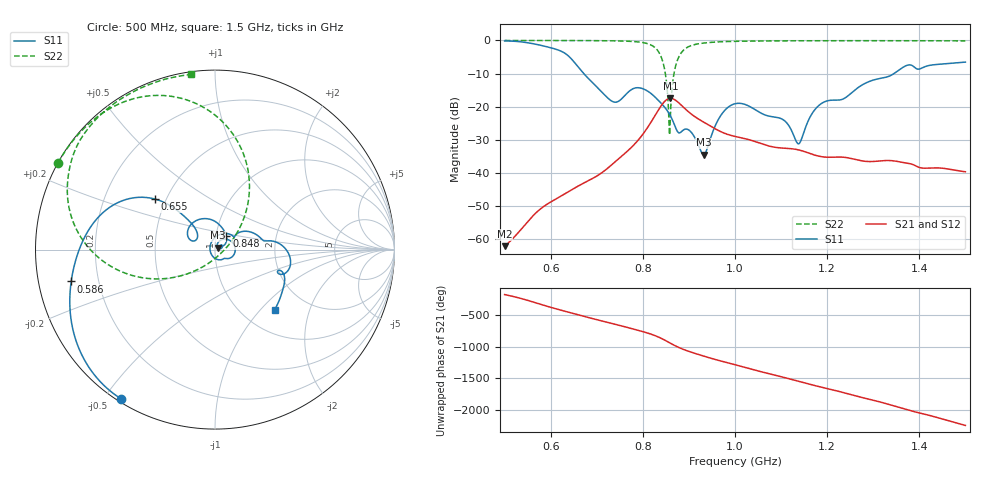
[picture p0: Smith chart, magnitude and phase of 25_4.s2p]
! TOUCHSTONE file generated by CST MICROWAVE STUDIO
! Date and time: Wed Oct 28 19:18:07 2020
! Project name: Scenario_1_Circular_Tissue_out_of_Line.cst
! Parameters = {dy1=70.184; L_HA=400; MT=2.54; Rad_Dielectric=30; Rad_Lower=7.3; Rad_Upper=30; a_HA=580; a_WG=246; b_HA=500; b_WG=121; c_HA=0; c_WG=187; d_feed=85; dx1=693; h_feed=15; h_lower=18; h_upper=40}
! Header version: 2018
! Port assignment regex: !\s*Touchstone port\s*([0-9]+)\s*=\s*(CST MWS port|CST DS port)\s*([0-9]+|Zmin|Zmax)\s*\(\"(.*)\"\)(\s*mode\s*([0-9]+))?.*
! Touchstone port assignment:
! Touchstone port 1 = CST MWS port 1 ("")
! Touchstone port 2 = CST MWS port 2 ("")
# GHz S DB R 50
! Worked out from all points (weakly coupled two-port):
!   1001 points, 500 MHz to 1.5 GHz, reference 50 ohm
!   highest |S21| = -17.44 dB at 860 MHz (marker M1); lowest = -62.0 dB at 500 MHz (marker M2)
!   lowest |S11| = -34.4 dB at 932 MHz (marker M3), VSWR 1.04, Z = 51.6 + j1.14 ohm
!   |S11| at or under -10 dB: 671.8 MHz to 1.345 GHz (673 MHz wide, 66.7 % of centre)
!   |S22| runs from -28.5 to 0.0 dB; largest |S21 - S12| = 1.2e-05
!   S11 on the Smith chart (normalised r, x): 500 MHz: 0.01, -0.55; 586 MHz: 0.10, -0.11; 655 MHz: 0.44, +0.30; 848 MHz: 1.12, +0.17; 1.5 GHz: 1.39, -1.20
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0.5  -0.15 -122.3  -62.02 -167.5  -62.02 -167.5  -0.01 151.1
0.586  -1.72 -167.5  -49.94 19.6  -49.94 19.6  -0.02 145.2
0.655  -7.21 139.8  -44.25 -120.8  -44.25 -120.8  -0.04 139.5
0.667  -9.24 135.4  -43.34 -144.6  -43.34 -144.6  -0.04 138.4
0.736  -18.51 145.7  -37.06 88.5  -37.06 88.5  -0.12 129.9
0.779  -14.54 143.0  -31.70 5.4  -31.70 5.4  -0.32 120.6
0.815  -15.71 94.2  -25.24 -70.3  -25.24 -70.3  -1.21 103.5
0.834  -18.12 69.6  -20.92 -123.3  -20.92 -123.3  -3.40 83.3
0.848  -20.25 49.4  -18.28 -173.7  -18.28 -173.7  -9.32 56.7
0.855  -21.58 39.3  -17.59 158.2  -17.59 158.2  -19.07 28.9
0.86  -22.77 32.6  -17.44 137.8  -17.44 137.8  -21.89 -113.7
0.868  -25.23 25.5  -17.77 106.4  -17.77 106.4  -9.66 -150.5
0.879  -27.88 34.5  -18.94 67.8  -18.94 67.8  -4.71 -170.4
0.902  -27.25 20.3  -21.85 3.5  -21.85 3.5  -1.71 167.1
0.932  -34.42 35.5  -24.63 -66.0  -24.63 -66.0  -0.79 153.7
0.968  -22.86 52.5  -27.43 -141.5  -27.43 -141.5  -0.41 145.3
1  -19.08 9.9  -28.93 157.3  -28.93 157.3  -0.27 140.3
1.104  -23.86 -62.8  -32.47 -40.7  -32.47 -40.7  -0.12 129.4
1.137  -31.15 -167.3  -32.97 -105.7  -32.97 -105.7  -0.11 126.6
1.167  -22.10 80.2  -34.29 -163.7  -34.29 -163.7  -0.09 124.2
1.334  -10.81 9.6  -36.19 -114.5  -36.19 -114.5  -0.09 111.5
1.5  -6.53 -45.2  -39.59 -88.6  -39.59 -88.6  -0.13 97.9
